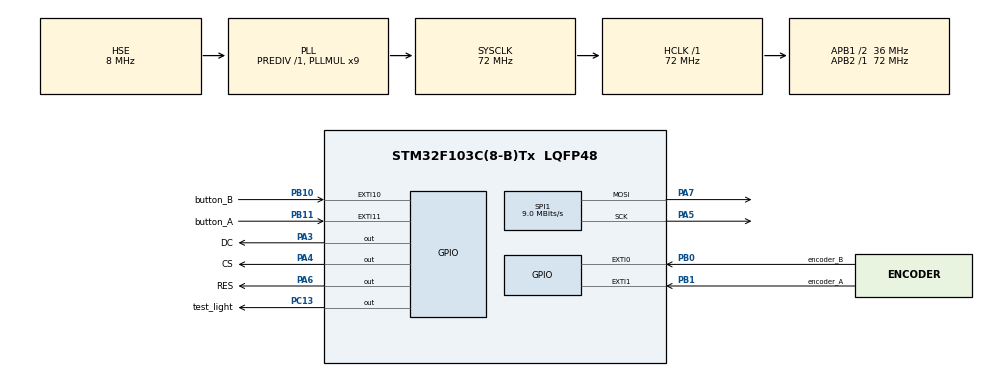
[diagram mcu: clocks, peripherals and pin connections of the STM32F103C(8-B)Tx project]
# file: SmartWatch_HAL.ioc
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FREERTOS.Tasks01=defaultTask,24,128,StartDefaultTask,Default,NULL,Dynamic,NULL,NULL;render_ui_Task,24,128,ui_renderer,Default,NULL,Dynamic,NULL,NULL
FREERTOS.configTOTAL_HEAP_SIZE=3072
FREERTOS.configUSE_NEWLIB_REENTRANT=1
Mcu.Family=STM32F1
Mcu.Name=STM32F103C(8-B)Tx
Mcu.Package=LQFP48
NVIC.EXTI0_IRQn=true\:5\:0\:false\:false\:true\:true\:true\:true\:true
NVIC.EXTI15_10_IRQn=true\:5\:0\:false\:false\:true\:true\:true\:true\:true
NVIC.EXTI1_IRQn=true\:5\:0\:false\:false\:true\:true\:true\:true\:true
NVIC.PriorityGroup=NVIC_PRIORITYGROUP_4
NVIC.TIM1_UP_IRQn=true\:15\:0\:false\:false\:true\:false\:false\:true\:true
NVIC.TimeBase=TIM1_UP_IRQn
NVIC.TimeBaseIP=TIM1
PA13.Mode=JTAG_4_pins
PA13.Signal=SYS_JTMS-SWDIO
PA14.Mode=JTAG_4_pins
PA14.Signal=SYS_JTCK-SWCLK
PA15.Mode=JTAG_4_pins
PA15.Signal=SYS_JTDI
PA3.GPIO_Label=DC
PA3.Signal=GPIO_Output
PA4.GPIO_Label=CS
PA4.Signal=GPIO_Output
PA5.Mode=TX_Only_Simplex_Unidirect_Master
PA5.Signal=SPI1_SCK
PA6.GPIO_Label=RES
PA6.Signal=GPIO_Output
PA7.Mode=TX_Only_Simplex_Unidirect_Master
PA7.Signal=SPI1_MOSI
PB0.GPIO_Label=encoder_B
PB0.GPIO_ModeDefaultEXTI=GPIO_MODE_IT_FALLING
PB0.GPIO_PuPd=GPIO_PULLUP
PB0.Signal=GPXTI0
PB1.GPIO_Label=encoder_A
PB1.GPIO_ModeDefaultEXTI=GPIO_MODE_IT_FALLING
PB1.GPIO_PuPd=GPIO_PULLUP
PB1.Signal=GPXTI1
PB10.GPIO_Label=button_B
PB10.GPIO_ModeDefaultEXTI=GPIO_MODE_IT_FALLING
PB10.GPIO_PuPd=GPIO_PULLUP
PB10.Signal=GPXTI10
PB11.GPIO_Label=button_A
PB11.GPIO_ModeDefaultEXTI=GPIO_MODE_IT_FALLING
PB11.GPIO_PuPd=GPIO_PULLUP
PB11.Signal=GPXTI11
PB3.Mode=JTAG_4_pins
PB3.Signal=SYS_JTDO-TRACESWO
PC13-TAMPER-RTC.GPIO_Label=test_light
PC13-TAMPER-RTC.GPIO_PuPd=GPIO_NOPULL
PC13-TAMPER-RTC.PinState=GPIO_PIN_SET
PC13-TAMPER-RTC.Signal=GPIO_Output
PC14-OSC32_IN.Mode=LSE-External-Oscillator
PC14-OSC32_IN.Signal=RCC_OSC32_IN
PC15-OSC32_OUT.Mode=LSE-External-Oscillator
PC15-OSC32_OUT.Signal=RCC_OSC32_OUT
PD0-OSC_IN.Mode=HSE-External-Oscillator
PD0-OSC_IN.Signal=RCC_OSC_IN
PD1-OSC_OUT.Mode=HSE-External-Oscillator
PD1-OSC_OUT.Signal=RCC_OSC_OUT
ProjectManager.HeapSize=0x200
ProjectManager.StackSize=0x400
ProjectManager.TargetToolchain=STM32CubeIDE
RCC.AHBFreq_Value=72000000
RCC.APB1CLKDivider=RCC_HCLK_DIV2
RCC.APB1Freq_Value=36000000
RCC.APB1TimFreq_Value=72000000
RCC.APB2Freq_Value=72000000
RCC.APB2TimFreq_Value=72000000
RCC.HCLKFreq_Value=72000000
RCC.PLLMUL=RCC_PLL_MUL9
RCC.PLLSourceVirtual=RCC_PLLSOURCE_HSE
RCC.SYSCLKFreq_VALUE=72000000
RCC.SYSCLKSource=RCC_SYSCLKSOURCE_PLLCLK
RCC.USBFreq_Value=72000000
SPI1.BaudRatePrescaler=SPI_BAUDRATEPRESCALER_8
SPI1.CalculateBaudRate=9.0 MBits/s
SPI1.Direction=SPI_DIRECTION_2LINES
SPI1.Mode=SPI_MODE_MASTER
SPI1.VirtualType=VM_MASTER
VP_FREERTOS_VS_CMSIS_V2.Mode=CMSIS_V2
VP_SYS_VS_tim1.Mode=TIM1
board=custom

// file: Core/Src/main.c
/* USER CODE BEGIN Header */
/**
  ******************************************************************************
  * @file           : main.c
  * @brief          : Main program body
  ******************************************************************************
  * @attention
  *
  * Copyright (c) 2025 STMicroelectronics.
  * All rights reserved.
  *
  * This software is licensed under terms that can be found in the LICENSE file
  * in the root directory of this software component.
  * If no LICENSE file comes with this software, it is provided AS-IS.
  *
  ******************************************************************************
  */

/* USER CODE END Header */
#include "main.h"
#include "cmsis_os.h"
#include "spi.h"
#include "gpio.h"

void SystemClock_Config(void);
void MX_FREERTOS_Init(void);

int main(void)
{

  /* MCU Configuration--------------------------------------------------------*/

  /* Reset of all peripherals, Initializes the Flash interface and the Systick. */
  HAL_Init();

  /* Configure the system clock */
  SystemClock_Config();

  /* Initialize all configured peripherals */
  MX_GPIO_Init();
  MX_SPI1_Init();

  /* Init scheduler */
  osKernelInitialize();

  /* Call init function for freertos objects (in cmsis_os2.c) */
  MX_FREERTOS_Init();

  /* Start scheduler */
  osKernelStart();

  /* We should never get here as control is now taken by the scheduler */

  /* Infinite loop */
  while (1)
  {

  }
}

void SystemClock_Config(void)
{
  RCC_OscInitTypeDef RCC_OscInitStruct = {0};
  RCC_ClkInitTypeDef RCC_ClkInitStruct = {0};

  /** Initializes the RCC Oscillators according to the specified parameters
  * in the RCC_OscInitTypeDef structure.
  */
  RCC_OscInitStruct.OscillatorType = RCC_OSCILLATORTYPE_HSE;
  RCC_OscInitStruct.HSEState = RCC_HSE_ON;
  RCC_OscInitStruct.HSEPredivValue = RCC_HSE_PREDIV_DIV1;
  RCC_OscInitStruct.HSIState = RCC_HSI_ON;
  RCC_OscInitStruct.PLL.PLLState = RCC_PLL_ON;
  RCC_OscInitStruct.PLL.PLLSource = RCC_PLLSOURCE_HSE;
  RCC_OscInitStruct.PLL.PLLMUL = RCC_PLL_MUL9;
  if (HAL_RCC_OscConfig(&RCC_OscInitStruct) != HAL_OK)
  {
    Error_Handler();
  }

  /** Initializes the CPU, AHB and APB buses clocks
  */
  RCC_ClkInitStruct.ClockType = RCC_CLOCKTYPE_HCLK|RCC_CLOCKTYPE_SYSCLK
                              |RCC_CLOCKTYPE_PCLK1|RCC_CLOCKTYPE_PCLK2;
  RCC_ClkInitStruct.SYSCLKSource = RCC_SYSCLKSOURCE_PLLCLK;
  RCC_ClkInitStruct.AHBCLKDivider = RCC_SYSCLK_DIV1;
  RCC_ClkInitStruct.APB1CLKDivider = RCC_HCLK_DIV2;
  RCC_ClkInitStruct.APB2CLKDivider = RCC_HCLK_DIV1;

  if (HAL_RCC_ClockConfig(&RCC_ClkInitStruct, FLASH_LATENCY_2) != HAL_OK)
  {
    Error_Handler();
  }
}

void HAL_TIM_PeriodElapsedCallback(TIM_HandleTypeDef *htim)
{
  if (htim->Instance == TIM1)
  {
    HAL_IncTick();
  }
}

void Error_Handler(void)
{
  __disable_irq();
  while (1)
  {
  }
}

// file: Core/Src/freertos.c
/* USER CODE BEGIN Header */
/**
  ******************************************************************************
  * File Name          : freertos.c
  * Description        : Code for freertos applications
  ******************************************************************************
  * @attention
  *
  * Copyright (c) 2025 STMicroelectronics.
  * All rights reserved.
  *
  * This software is licensed under terms that can be found in the LICENSE file
  * in the root directory of this software component.
  * If no LICENSE file comes with this software, it is provided AS-IS.
  *
  ******************************************************************************
  */
/* USER CODE END Header */

#include "FreeRTOS.h"
#include "task.h"
#include "main.h"
#include "cmsis_os.h"

/* USER CODE BEGIN Includes */

#include "ui.h"

/* USER CODE END Includes */

/* Definitions for defaultTask */
osThreadId_t defaultTaskHandle;
const osThreadAttr_t defaultTask_attributes = {
  .name = "defaultTask",
  .stack_size = 128 * 4,
  .priority = (osPriority_t) osPriorityNormal,
};
/* Definitions for render_ui_Task */
osThreadId_t render_ui_TaskHandle;
const osThreadAttr_t render_ui_Task_attributes = {
  .name = "render_ui_Task",
  .stack_size = 128 * 4,
  .priority = (osPriority_t) osPriorityNormal,
};

/* USER CODE BEGIN FunctionPrototypes */

void drawClock(uint8_t hour, uint8_t min, uint8_t sec);

/* USER CODE END FunctionPrototypes */

void StartDefaultTask(void *argument);
void ui_renderer(void *argument);

void MX_FREERTOS_Init(void); /* (MISRA C 2004 rule 8.1) */

void MX_FREERTOS_Init(void) {

  /* Create the thread(s) */
  /* creation of defaultTask */
  defaultTaskHandle = osThreadNew(StartDefaultTask, NULL, &defaultTask_attributes);

  /* creation of render_ui_Task */
  render_ui_TaskHandle = osThreadNew(ui_renderer, NULL, &render_ui_Task_attributes);

}

void StartDefaultTask(void *argument)
{
  /* USER CODE BEGIN StartDefaultTask */

  /* Infinite loop */
  for(;;)
  {
	  HAL_GPIO_TogglePin(test_light_GPIO_Port, test_light_Pin);
	  HAL_Delay(500);
  }
  /* USER CODE END StartDefaultTask */
}

void ui_renderer(void *argument)
{
  /* USER CODE BEGIN ui_renderer */

	ui_setup();

	ui_animation_on(&ui_page_welcome);
  /* Infinite loop */
  for(;;)
  {
	  u8g2_ClearBuffer(&u8g2);
	  switch(ui_page){

	  case UI_Page_Welcome:
		  ui_draw_page(&ui_page_welcome, ui_page_welcome_renderer, easeOutQuad);
		  break;

	  case UI_Page_Home:
		  ui_draw_page(&ui_page_home, ui_page_home_renderer, easeOutQuad);
		  break;

	  case UI_Page_Menu:
		  ui_draw_page(&ui_page_menu, ui_page_menu_renderer, easeOutQuad);
		  break;

	  }
	  vTaskDelay(42);
  }
  /* USER CODE END ui_renderer */
}
